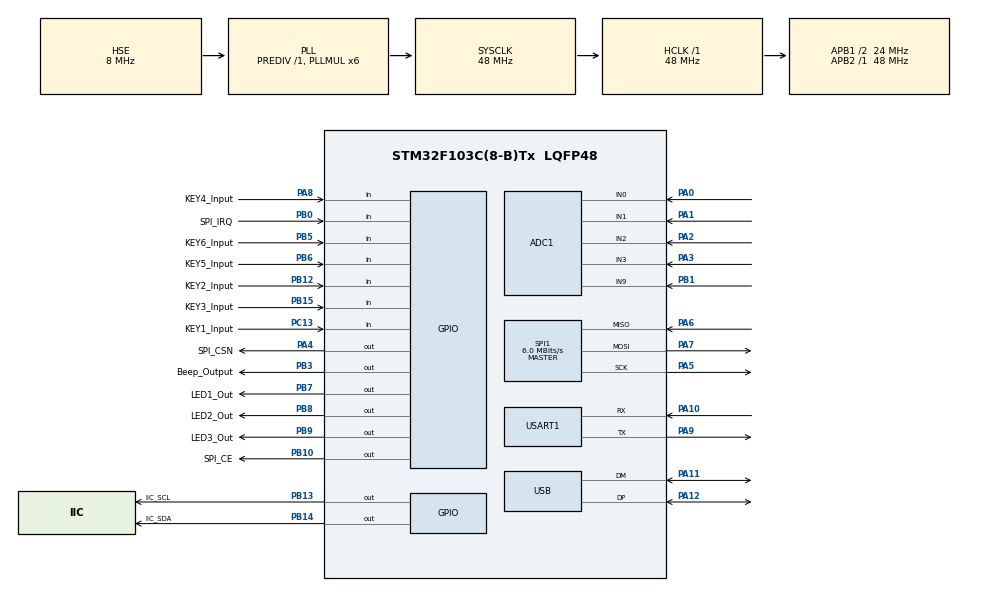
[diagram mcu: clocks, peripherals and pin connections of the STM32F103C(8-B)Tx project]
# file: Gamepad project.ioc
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ADC1.Channel-1\#ChannelRegularConversion=ADC_CHANNEL_0
ADC1.Channel-13\#ChannelRegularConversion=ADC_CHANNEL_9
ADC1.Channel-5\#ChannelRegularConversion=ADC_CHANNEL_1
ADC1.Channel-6\#ChannelRegularConversion=ADC_CHANNEL_2
ADC1.Channel-7\#ChannelRegularConversion=ADC_CHANNEL_3
ADC1.ContinuousConvMode=DISABLE
ADC1.EnableInjectedConversion=DISABLE
ADC1.ExternalTrigConv=ADC_EXTERNALTRIGCONV_T4_CC4
ADC1.InjNumberOfConversion=0
ADC1.NbrOfConversion=5
ADC1.NbrOfConversionFlag=1
ADC1.Rank-1\#ChannelRegularConversion=1
ADC1.Rank-13\#ChannelRegularConversion=5
ADC1.Rank-5\#ChannelRegularConversion=2
ADC1.Rank-6\#ChannelRegularConversion=3
ADC1.Rank-7\#ChannelRegularConversion=4
ADC1.SamplingTime-1\#ChannelRegularConversion=ADC_SAMPLETIME_71CYCLES_5
ADC1.SamplingTime-13\#ChannelRegularConversion=ADC_SAMPLETIME_239CYCLES_5
ADC1.SamplingTime-5\#ChannelRegularConversion=ADC_SAMPLETIME_71CYCLES_5
ADC1.SamplingTime-6\#ChannelRegularConversion=ADC_SAMPLETIME_71CYCLES_5
ADC1.SamplingTime-7\#ChannelRegularConversion=ADC_SAMPLETIME_71CYCLES_5
ADC1.master=1
Dma.ADC1.0.Direction=DMA_PERIPH_TO_MEMORY
Dma.ADC1.0.Instance=DMA1_Channel1
Dma.ADC1.0.MemDataAlignment=DMA_MDATAALIGN_HALFWORD
Dma.ADC1.0.MemInc=DMA_MINC_ENABLE
Dma.ADC1.0.Mode=DMA_CIRCULAR
Dma.ADC1.0.PeriphDataAlignment=DMA_PDATAALIGN_HALFWORD
Dma.ADC1.0.PeriphInc=DMA_PINC_DISABLE
Dma.ADC1.0.Priority=DMA_PRIORITY_MEDIUM
Dma.Request0=ADC1
Mcu.Family=STM32F1
Mcu.Name=STM32F103C(8-B)Tx
Mcu.Package=LQFP48
NVIC.DMA1_Channel1_IRQn=true\:0\:0\:false\:false\:true\:false\:true\:true
NVIC.PriorityGroup=NVIC_PRIORITYGROUP_4
NVIC.TIM3_IRQn=true\:0\:0\:true\:false\:true\:true\:true\:true
NVIC.USB_LP_CAN1_RX0_IRQn=true\:0\:0\:false\:false\:true\:false\:true\:true
PA0-WKUP.Signal=ADCx_IN0
PA1.Signal=ADCx_IN1
PA10.Mode=Asynchronous
PA10.Signal=USART1_RX
PA11.Mode=Device
PA11.Signal=USB_DM
PA12.Mode=Device
PA12.Signal=USB_DP
PA13.Mode=Serial_Wire
PA13.Signal=SYS_JTMS-SWDIO
PA14.Mode=Serial_Wire
PA14.Signal=SYS_JTCK-SWCLK
PA2.Signal=ADCx_IN2
PA3.Signal=ADCx_IN3
PA4.GPIO_Label=SPI_CSN
PA4.GPIO_ModeDefaultOutputPP=GPIO_MODE_OUTPUT_PP
PA4.GPIO_Speed=GPIO_SPEED_FREQ_LOW
PA4.PinState=GPIO_PIN_SET
PA4.Signal=GPIO_Output
PA5.Mode=Full_Duplex_Master
PA5.Signal=SPI1_SCK
PA6.Mode=Full_Duplex_Master
PA6.Signal=SPI1_MISO
PA7.Mode=Full_Duplex_Master
PA7.Signal=SPI1_MOSI
PA8.GPIO_Label=KEY4_Input
PA8.Signal=GPIO_Input
PA9.Mode=Asynchronous
PA9.Signal=USART1_TX
PB0.GPIO_Label=SPI_IRQ
PB0.GPIO_Mode=GPIO_MODE_INPUT
PB0.GPIO_PuPd=GPIO_PULLUP
PB0.Signal=GPIO_Input
PB1.Signal=ADCx_IN9
PB10.GPIO_Label=SPI_CE
PB10.PinState=GPIO_PIN_SET
PB10.Signal=GPIO_Output
PB12.GPIO_Label=KEY2_Input
PB12.Signal=GPIO_Input
PB13.GPIO_Label=IIC_SCL
PB13.GPIO_ModeDefaultOutputPP=GPIO_MODE_OUTPUT_OD
PB13.GPIO_PuPd=GPIO_NOPULL
PB13.GPIO_Speed=GPIO_SPEED_FREQ_HIGH
PB13.PinState=GPIO_PIN_SET
PB13.Signal=GPIO_Output
PB14.GPIO_Label=IIC_SDA
PB14.GPIO_ModeDefaultOutputPP=GPIO_MODE_OUTPUT_OD
PB14.GPIO_PuPd=GPIO_NOPULL
PB14.GPIO_Speed=GPIO_SPEED_FREQ_HIGH
PB14.PinState=GPIO_PIN_SET
PB14.Signal=GPIO_Output
PB15.GPIO_Label=KEY3_Input
PB15.Signal=GPIO_Input
PB3.GPIO_Label=Beep_Output
PB3.GPIO_ModeDefaultOutputPP=GPIO_MODE_OUTPUT_PP
PB3.GPIO_Speed=GPIO_SPEED_FREQ_LOW
PB3.PinState=GPIO_PIN_RESET
PB3.Signal=GPIO_Output
PB5.GPIO_Label=KEY6_Input
PB5.Signal=GPIO_Input
PB6.GPIO_Label=KEY5_Input
PB6.Signal=GPIO_Input
PB7.GPIO_Label=LED1_Out
PB7.GPIO_Speed=GPIO_SPEED_FREQ_LOW
PB7.PinState=GPIO_PIN_SET
PB7.Signal=GPIO_Output
PB8.GPIO_Label=LED2_Out
PB8.GPIO_ModeDefaultOutputPP=GPIO_MODE_OUTPUT_PP
PB8.PinState=GPIO_PIN_SET
PB8.Signal=GPIO_Output
PB9.GPIO_Label=LED3_Out
PB9.GPIO_ModeDefaultOutputPP=GPIO_MODE_OUTPUT_PP
PB9.PinState=GPIO_PIN_SET
PB9.Signal=GPIO_Output
PC13-TAMPER-RTC.GPIO_Label=KEY1_Input
PC13-TAMPER-RTC.Signal=GPIO_Input
PD0-OSC_IN.Mode=HSE-External-Oscillator
PD0-OSC_IN.Signal=RCC_OSC_IN
PD1-OSC_OUT.Mode=HSE-External-Oscillator
PD1-OSC_OUT.Signal=RCC_OSC_OUT
ProjectManager.HeapSize=0x400
ProjectManager.StackSize=0x400
ProjectManager.TargetToolchain=MDK-ARM V5
RCC.ADCPresc=RCC_ADCPCLK2_DIV4
RCC.AHBFreq_Value=48000000
RCC.APB1CLKDivider=RCC_HCLK_DIV2
RCC.APB1Freq_Value=24000000
RCC.APB1TimFreq_Value=48000000
RCC.APB2Freq_Value=48000000
RCC.APB2TimFreq_Value=48000000
RCC.HCLKFreq_Value=48000000
RCC.PLLMUL=RCC_PLL_MUL6
RCC.PLLSourceVirtual=RCC_PLLSOURCE_HSE
RCC.SYSCLKFreq_VALUE=48000000
RCC.SYSCLKSource=RCC_SYSCLKSOURCE_PLLCLK
RCC.USBFreq_Value=48000000
SH.ADCx_IN0.0=ADC1_IN0,IN0
SH.ADCx_IN1.0=ADC1_IN1,IN1
SH.ADCx_IN2.0=ADC1_IN2,IN2
SH.ADCx_IN3.0=ADC1_IN3,IN3
SH.ADCx_IN9.0=ADC1_IN9,IN9
SPI1.BaudRatePrescaler=SPI_BAUDRATEPRESCALER_8
SPI1.CRCCalculation=SPI_CRCCALCULATION_DISABLE
SPI1.CalculateBaudRate=6.0 MBits/s
SPI1.Direction=SPI_DIRECTION_2LINES
SPI1.Mode=SPI_MODE_MASTER
SPI1.VirtualType=VM_MASTER
TIM3.AutoReloadPreload=TIM_AUTORELOAD_PRELOAD_ENABLE
TIM3.Period=1000
TIM3.Prescaler=72-1
TIM3.TIM_MasterOutputTrigger=TIM_TRGO_RESET
TIM3.TIM_MasterSlaveMode=TIM_MASTERSLAVEMODE_DISABLE
TIM4.AutoReloadPreload=TIM_AUTORELOAD_PRELOAD_ENABLE
TIM4.Channel-PWM\ Generation4\ No\ Output=TIM_CHANNEL_4
TIM4.ClockDivision=TIM_CLOCKDIVISION_DIV1
TIM4.Period=20000-1
TIM4.Prescaler=72-1
TIM4.Pulse-PWM\ Generation4\ No\ Output=5000
TIM4.TIM_MasterOutputTrigger=TIM_TRGO_ENABLE
TIM4.TIM_MasterSlaveMode=TIM_MASTERSLAVEMODE_ENABLE
USART1.VirtualMode=VM_ASYNC
USB_DEVICE.CLASS_NAME_FS=CUSTOM_HID
USB_DEVICE.PRODUCT_STRING_CUSTOMHID_FS=STM32 Xiaoyu_Gamepad
USB_DEVICE.USBD_CUSTOM_HID_REPORT_DESC_SIZE=57
USB_DEVICE.USBD_DEBUG_LEVEL=0
USB_DEVICE.USBD_MAX_STR_DESC_SIZ=256
USB_DEVICE.USBD_SELF_POWERED=0
USB_DEVICE.VirtualMode=CustomHid
USB_DEVICE.VirtualModeFS=Custom_Hid_FS
VP_TIM3_VS_ClockSourceINT.Mode=Internal
VP_TIM4_VS_ClockSourceINT.Mode=Internal
VP_TIM4_VS_no_output4.Mode=PWM Generation4 No Output
VP_USB_DEVICE_VS_USB_DEVICE_CUSTOM_HID_FS.Mode=CUSTOM_HID_FS
board=custom

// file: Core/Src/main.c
/* USER CODE BEGIN Header */
/**
  ******************************************************************************
  * @file           : main.c
  * @brief          : Main program body
  ******************************************************************************
  * @attention
  *
  * Copyright (c) 2025 STMicroelectronics.
  * All rights reserved.
  *
  * This software is licensed under terms that can be found in the LICENSE file
  * in the root directory of this software component.
  * If no LICENSE file comes with this software, it is provided AS-IS.
  *
  ******************************************************************************
  */
/* USER CODE END Header */
#include "main.h"
#include "adc.h"
#include "dma.h"
#include "spi.h"
#include "tim.h"
#include "usart.h"
#include "usb_device.h"
#include "gpio.h"

/* USER CODE BEGIN Includes */
#include <stdio.h>
#include <stdbool.h>
#include "LED.h"
#include "OLED.h"
#include "Beep.h"
#include "Key.h"
#include "Remote_ADC.h"
#include "XY_LOGO_Font.h" //包含LOGO图片头文件
#include "MenuSetting.h"
#include "Block.h"
#include "MenuSelector.h"
#include "usbd_customhid.h"
#include "My_Display.h"
/* USER CODE END Includes */

/* USER CODE BEGIN PV */

uint32_t i;
uint8_t stagat=0;
KeyType Read_key = None;
extern USBD_HandleTypeDef hUsbDeviceFS;

/* USER CODE END PV */

void SystemClock_Config(void);
/* USER CODE BEGIN PFP */
bool User_Init(void);//用户功能代码初始化

/* USER CODE END PFP */

int main(void)
{

  /* MCU Configuration--------------------------------------------------------*/

  /* Reset of all peripherals, Initializes the Flash interface and the Systick. */
  HAL_Init();

  /* Configure the system clock */
  SystemClock_Config();

  /* Initialize all configured peripherals */
  MX_GPIO_Init();
  MX_DMA_Init();
  MX_ADC1_Init();
  MX_SPI1_Init();
  MX_USART1_UART_Init();
  MX_TIM4_Init();
  MX_TIM3_Init();
  MX_USB_DEVICE_Init();
  /* USER CODE BEGIN 2 */
    OLED_Init();    //先对OLED初始化，为了加载初始化动画
    OLED_ShowImage(0, 0, 113, 64, XY_LOGO_Font); //显示LOGO
	  OLED_Update();			//更新OLED显示

	while(User_Init() == false); //用户功能代码初始化，直到成功

	HAL_Delay(600);		//为了开机特效，人为Delay

   /* USER CODE END 2 */

  /* Infinite loop */

  /* 遥感校准 */
  Start_Joystick_Calibration();
  while (Is_Joystick_Calibration_Complete() == false)
  {
    Auto_Joystick_Calibration();
    Remote_ADC_Joystick_Dis();
    if(main_1ms_flag == true)
    {
        OLED_Update();
        USBD_CUSTOM_HID_SendReport(&hUsbDeviceFS,(uint8_t*)&gamepad_report,sizeof(gamepad_report));
        main_1ms_flag = false;
    }
    OLED_Clear();
  }
  /* USER CODE BEGIN WHILE */
  while (1)
  {
    DisplayState state = GetDisplayState();   // 获取当前显示状态

    switch (state) {				                  // 根据显示状态对应显示画面
        case DISPLAY_MENU:
            PrintSelector();
            break;

        case DISPLAY_REALTIME:
            Remote_ADC_DisplayFunc();
            break;

        case DISPLAY_ANIMATION:
            Remote_ADC_Joystick_Dis();
            break;
    }

    if(main_1ms_flag == true)
    {
        USBD_CUSTOM_HID_SendReport(&hUsbDeviceFS,(uint8_t*)&gamepad_report,sizeof(gamepad_report));
        OLED_Update();
        main_1ms_flag = false;
    }
    /* USER CODE END WHILE */
  }

  /* USER CODE END WHILE */
}  // ← 这是main函数的闭合括号！

void SystemClock_Config(void)
{

  RCC_OscInitTypeDef RCC_OscInitStruct = {0};
  RCC_ClkInitTypeDef RCC_ClkInitStruct = {0};
  RCC_PeriphCLKInitTypeDef PeriphClkInit = {0};

  /** Initializes the RCC Oscillators according to the specified parameters
  * in the RCC_OscInitTypeDef structure.
  */
  RCC_OscInitStruct.OscillatorType = RCC_OSCILLATORTYPE_HSE;
  RCC_OscInitStruct.HSEState = RCC_HSE_ON;
  RCC_OscInitStruct.HSEPredivValue = RCC_HSE_PREDIV_DIV1;
  RCC_OscInitStruct.HSIState = RCC_HSI_ON;
  RCC_OscInitStruct.PLL.PLLState = RCC_PLL_ON;
  RCC_OscInitStruct.PLL.PLLSource = RCC_PLLSOURCE_HSE;
  RCC_OscInitStruct.PLL.PLLMUL = RCC_PLL_MUL6;
  if (HAL_RCC_OscConfig(&RCC_OscInitStruct) != HAL_OK)
  {
    Error_Handler();
  }

  /** Initializes the CPU, AHB and APB buses clocks
  */
  RCC_ClkInitStruct.ClockType = RCC_CLOCKTYPE_HCLK|RCC_CLOCKTYPE_SYSCLK
                              |RCC_CLOCKTYPE_PCLK1|RCC_CLOCKTYPE_PCLK2;
  RCC_ClkInitStruct.SYSCLKSource = RCC_SYSCLKSOURCE_PLLCLK;
  RCC_ClkInitStruct.AHBCLKDivider = RCC_SYSCLK_DIV1;
  RCC_ClkInitStruct.APB1CLKDivider = RCC_HCLK_DIV2;
  RCC_ClkInitStruct.APB2CLKDivider = RCC_HCLK_DIV1;

  if (HAL_RCC_ClockConfig(&RCC_ClkInitStruct, FLASH_LATENCY_1) != HAL_OK)
  {
    Error_Handler();
  }
  PeriphClkInit.PeriphClockSelection = RCC_PERIPHCLK_ADC|RCC_PERIPHCLK_USB;
  PeriphClkInit.AdcClockSelection = RCC_ADCPCLK2_DIV4;
  PeriphClkInit.UsbClockSelection = RCC_USBCLKSOURCE_PLL;
  if (HAL_RCCEx_PeriphCLKConfig(&PeriphClkInit) != HAL_OK)
  {
    Error_Handler();
  }
}

/* USER CODE BEGIN 4 */
bool User_Init(void) //用户功能代码初始化
{
	LED_Init();
	LED_Init_Task();        //LED初始化测试任务
	Beep_Init();
	Key_Init();
	Remote_ADC_Init();
	MenuInit();	      //菜单初始化

  return true;
}

/* USER CODE END 4 */

void Error_Handler(void)
{
  /* USER CODE BEGIN Error_Handler_Debug */
  /* User can add his own implementation to report the HAL error return state */
  __disable_irq();
  while (1)
  {
    LED_Toggle(Pin1, 1);
    HAL_Delay(200);
    LED_Toggle(Pin1, 0);
    HAL_Delay(200);
  }
  /* USER CODE END Error_Handler_Debug */
}
